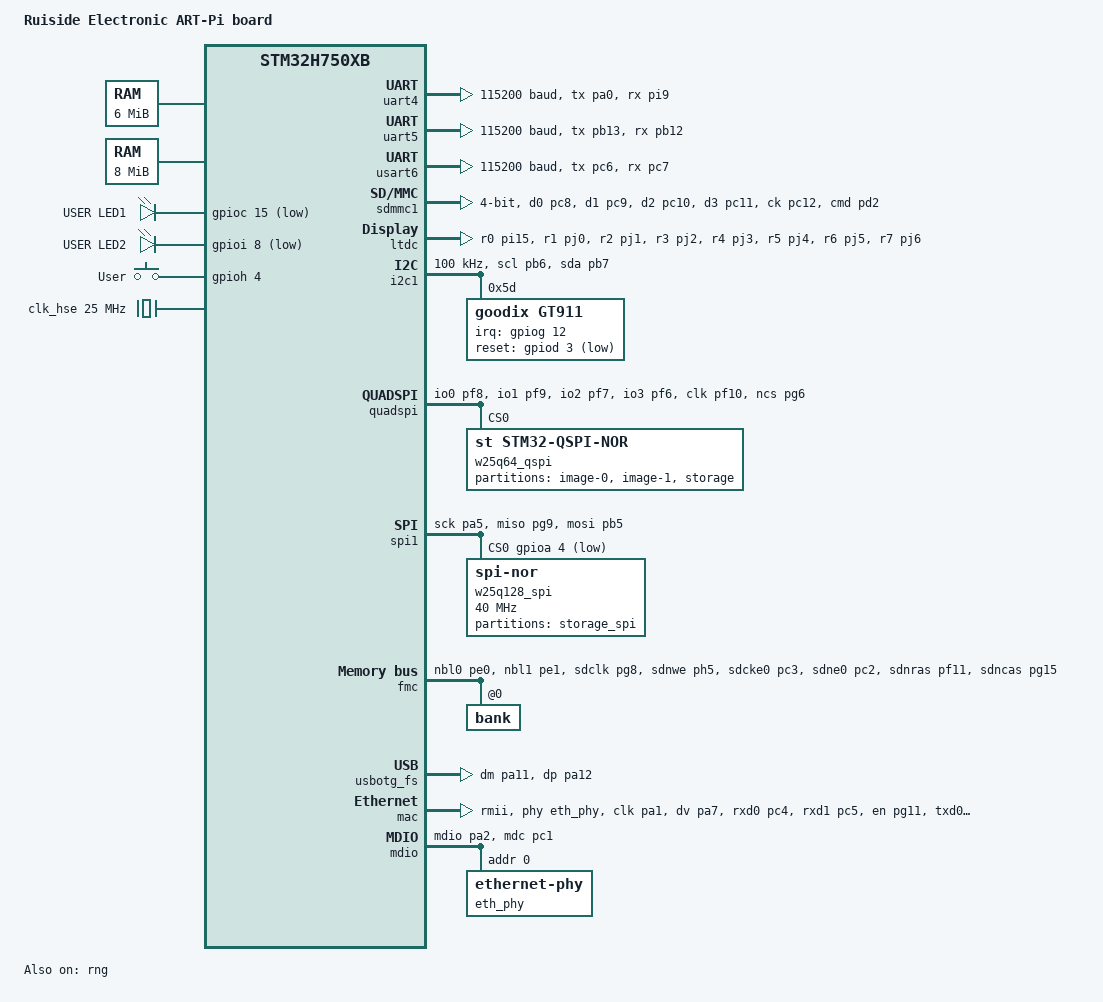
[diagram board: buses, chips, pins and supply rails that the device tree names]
/*
 * Copyright (c) 2025 Dejiang He <2995560796@qq.com>
 *
 * SPDX-License-Identifier: Apache-2.0
 */

/dts-v1/;
#include <st/h7/stm32h750Xb.dtsi>
#include <st/h7/stm32h750xbhx-pinctrl.dtsi>
#include <zephyr/dt-bindings/input/input-event-codes.h>
#include <zephyr/dt-bindings/gpio/gpio.h>
#include <zephyr/dt-bindings/memory-attr/memory-attr.h>

/ {
	model = "Ruiside Electronic ART-Pi board";
	compatible = "ruiside,art-pi";

	chosen {
		zephyr,console = &uart4;
		zephyr,shell-uart = &uart4;
		zephyr,uart-mcumgr = &uart4;
		zephyr,sram = &sram0;
		zephyr,flash = &flash0;
		zephyr,flash-controller = &w25q64_qspi;
		zephyr,display = &ltdc;
		zephyr,code-partition = &slot0_partition;
		zephyr,touch = &gt911;
	};

	sdram1: memory@c0000000 {
		compatible = "zephyr,memory-region","mmio-sram";
		device_type = "memory";
		reg = <0xC0000000 0x00600000>; /* Use 6 MB  MAX 32MB */
		zephyr,memory-region = "SDRAM1";
		zephyr,memory-attr = <(DT_MEM_ARM(ATTR_MPU_RAM))>;
	};

	ext_memory: memory@90000000 {
		compatible = "zephyr,memory-region";
		reg = <0x90000000 DT_SIZE_M(8)>; /* 8MB QSPI Flash */
		zephyr,memory-region = "EXTMEM";
		zephyr,memory-attr = <DT_MEM_ARM_MPU_FLASH>;
	};

	leds {
		compatible = "gpio-leds";

		red_led: led_1 {
			gpios = <&gpioc 15 GPIO_ACTIVE_LOW>;
			label = "USER LED1";
		};

		blue_led: led_2 {
			gpios = <&gpioi 8 GPIO_ACTIVE_LOW>;
			label = "USER LED2";
		};
	};

	gpio_keys {
		compatible = "gpio-keys";

		user_button: button {
			label = "User";
			gpios = <&gpioh 4 GPIO_ACTIVE_HIGH>;
			zephyr,code = <INPUT_KEY_0>;
		};
	};

	aliases {
		led0 = &red_led;
		led1 = &blue_led;
		sw0 = &user_button;
	};
};

&clk_hse {
	clock-frequency = <DT_FREQ_M(25)>;
	status = "okay";
};

&clk_hsi48 {
	status = "okay";
};

&pll {
	div-m = <5>; /* 25/5 */
	mul-n = <192>; /* 5*192=960 */
	div-p = <2>; /* 960/2=480MHz */
	div-q = <4>; /* 960/4=240MHz */
	div-r = <4>; /* 960/4=240MHz */
	clocks = <&clk_hse>;
	status = "okay";
};

&pll2 {
	div-m = <5>; /* 25/5 */
	mul-n = <160>; /* 5*160=800 */
	div-p = <4>; /* 800/4=200MHz */
	div-q = <4>; /* 800/4=200MHz */
	div-r = <4>; /* 800/4=200MHz */
	clocks = <&clk_hse>;
	status = "okay";
};

&pll3 {
	div-m = <5>; /* 25/5 */
	mul-n = <100>; /* 5*100=500 */
	div-p = <2>; /* 500/2=250MHz */
	div-q = <20>; /* 500/20=25MHz */
	div-r = <20>; /* 500/20=25MHz */
	clocks = <&clk_hse>;
	status = "okay";
};

&rcc {
	clocks = <&pll>; /* 25/5*192/2 = 480 */
	clock-frequency = <DT_FREQ_M(480)>;
	d1cpre = <1>; /* 480/1 = 480MHz  CPU Clocks */
	hpre = <2>; /* 480/2 = 240MHz */
	d1ppre = <2>; /* 240/2 = 120MHz APB3 Clocks */
	d2ppre1 = <2>; /* 240/2 = 120MHz APB1 Clocks */
	d2ppre2 = <2>; /* 240/2 = 120MHz APB2 Clocks */
	d3ppre = <2>; /* 240/2 = 120MHz APB4 Clocks */
};

&flash0 {
	partitions {
		compatible = "fixed-partitions";
		#address-cells = <1>;
		#size-cells = <1>;

		/* Flash has 128KB sector size */
		boot_partition: partition@0 {
			label = "mcuboot";
			reg = <0x00000000 DT_SIZE_K(128)>;
		};
	};
};

&uart4 {
	pinctrl-0 = <&uart4_tx_pa0 &uart4_rx_pi9>;
	pinctrl-names = "default";
	current-speed = <115200>;
	status = "okay";
	label = "debug";
};

&uart5 {
	pinctrl-0 = <&uart5_tx_pb13 &uart5_rx_pb12>;
	pinctrl-names = "default";
	current-speed = <115200>;
	status = "okay";
	label = "rs485";
};

&usart6 {
	pinctrl-0 = <&usart6_tx_pc6 &usart6_rx_pc7>;
	pinctrl-names = "default";
	current-speed = <115200>;
	status = "okay";
	label = "rs232";
};

&sdmmc1 {
	status = "okay";
	pinctrl-names = "default";
	pinctrl-0 = <&sdmmc1_d0_pc8 &sdmmc1_d1_pc9 &sdmmc1_d2_pc10
		     &sdmmc1_d3_pc11 &sdmmc1_ck_pc12 &sdmmc1_cmd_pd2>;
	clocks = <&rcc STM32_CLOCK(AHB3, 16)>,
		 <&rcc STM32_SRC_PLL2_R SDMMC_SEL(0)>;
	bus-width = <4>;
	cd-gpios = <&gpiod 5 (GPIO_PULL_UP|GPIO_ACTIVE_HIGH)>;
	disk-name = "SD";
	resets;
	reset-names = "sdmmc1_reset";
	clk-div = <4>;
};

&ltdc {
	pinctrl-0 = <&ltdc_r0_pi15 &ltdc_r1_pj0 &ltdc_r2_pj1 &ltdc_r3_pj2
		     &ltdc_r4_pj3 &ltdc_r5_pj4 &ltdc_r6_pj5 &ltdc_r7_pj6
		     &ltdc_g0_pj7 &ltdc_g1_pj8 &ltdc_g2_pj9 &ltdc_g3_pj10
		     &ltdc_g4_pj11 &ltdc_g5_pk0 &ltdc_g6_pk1 &ltdc_g7_pk2
		     &ltdc_b0_pj12 &ltdc_b1_pj13 &ltdc_b2_pj14 &ltdc_b3_pj15
		     &ltdc_b4_pk3 &ltdc_b5_pk4 &ltdc_b6_pk5 &ltdc_b7_pk6
		     &ltdc_hsync_pi12 &ltdc_vsync_pi13 &ltdc_de_pk7 &ltdc_clk_pi14>;
	pinctrl-names = "default";
	bl-ctrl-gpios = <&gpiod 4 GPIO_ACTIVE_HIGH>;
	ext-sdram = <&sdram1>;
	status = "okay";
	clocks = <&rcc STM32_CLOCK(APB3, 3)>,<&rcc STM32_SRC_PLL3_R NO_SEL>;
	width = <800>;
	height = <480>;
	pixel-format = <PANEL_PIXEL_FORMAT_RGB_565>;
	def-back-color-red = <0X00>;
	def-back-color-green = <0X00>;
	def-back-color-blue = <0X00>;

	display-timings {
		compatible = "zephyr,panel-timing";
		de-active = <1>;
		pixelclk-active = <1>;
		hsync-active = <0>;
		vsync-active = <0>;
		hsync-len = <4>;
		hback-porch = <8>;
		hfront-porch = <8>;
		vsync-len = <4>;
		vback-porch = <8>;
		vfront-porch = <8>;
	};
};

&i2c1 {
	status = "okay";
	clock-frequency = <100000>;
	pinctrl-names = "default";
	pinctrl-0 = <&i2c1_scl_pb6 &i2c1_sda_pb7>;

	gt911: touchscreen@5d {
		compatible = "goodix,gt911";
		reg = <0x5d>;
		alt-addr = <0x14>;
		irq-gpios = <&gpiog 12 GPIO_ACTIVE_HIGH>;
		reset-gpios = <&gpiod 3 GPIO_ACTIVE_LOW>;
		status = "okay";
	};
};

&quadspi {
	pinctrl-0 = <&quadspi_bk1_io0_pf8 &quadspi_bk1_io1_pf9 &quadspi_bk1_io2_pf7
		     &quadspi_bk1_io3_pf6 &quadspi_clk_pf10 &quadspi_bk1_ncs_pg6>;
	pinctrl-names = "default";
	status = "okay";

	w25q64_qspi: qspi-nor-flash@0 {
		compatible = "st,stm32-qspi-nor";
		reg = <0>;
		size = <DT_SIZE_M(64)>; /* 64Mbit */
		qspi-max-frequency = <100000000>;
		cs-high-time = <2>;
		status = "okay";
		spi-bus-width = <4>;
		writeoc = "PP_1_4_4";
		reset-cmd;
		reset-cmd-wait = <2000>;

		partitions {
			compatible = "fixed-partitions";
			#address-cells = <1>;
			#size-cells = <1>;

			slot0_partition: partition@0 {
				label = "image-0";
				reg = <0x00000000 DT_SIZE_K(2048)>; /* 2MB */
			};

			slot1_partition: partition@200000 {
				label = "image-1";
				reg = <0x00200000 DT_SIZE_K(2048)>; /* 2MB */
			};

			storage_partition: partition@400000 {
				label = "storage";
				reg = <0x00400000 DT_SIZE_K(4096)>; /* 4MB */
			};
		};
	};
};

&spi1 {
	pinctrl-0 = <&spi1_sck_pa5 &spi1_miso_pg9 &spi1_mosi_pb5>;
	cs-gpios = <&gpioa 4 GPIO_ACTIVE_LOW>;
	pinctrl-names = "default";
	status = "okay";

	w25q128_spi: spi-nor-flash@0 {
		compatible = "jedec,spi-nor";
		reg = <0>;
		spi-max-frequency = <40000000>;
		size = <DT_SIZE_M(128)>; /* 128Mbit */
		status = "okay";
		jedec-id = [ef 40 18];
		has-dpd;
		t-enter-dpd = <3500>;
		t-exit-dpd = <3500>;

		partitions {
			compatible = "fixed-partitions";
			#address-cells = <1>;
			#size-cells = <1>;

			spi_storage_partition: partition@0 {
				label = "storage_spi";
				reg = <0x00000000 DT_SIZE_M(16)>; /* 16MB */
			};
		};
	};
};

&fmc {
	pinctrl-0 = <&fmc_nbl0_pe0 &fmc_nbl1_pe1 &fmc_sdclk_pg8 &fmc_sdnwe_ph5
		     &fmc_sdcke0_pc3 &fmc_sdne0_pc2 &fmc_sdnras_pf11 &fmc_sdncas_pg15
		     &fmc_a0_pf0 &fmc_a1_pf1 &fmc_a2_pf2 &fmc_a3_pf3 &fmc_a4_pf4
		     &fmc_a5_pf5 &fmc_a6_pf12 &fmc_a7_pf13 &fmc_a8_pf14 &fmc_a9_pf15
		     &fmc_a10_pg0 &fmc_a11_pg1 &fmc_a12_pg2 &fmc_a14_pg4 &fmc_a15_pg5
		     &fmc_d0_pd14 &fmc_d1_pd15 &fmc_d2_pd0 &fmc_d3_pd1 &fmc_d4_pe7
		     &fmc_d5_pe8 &fmc_d6_pe9 &fmc_d7_pe10 &fmc_d8_pe11 &fmc_d9_pe12
		     &fmc_d10_pe13 &fmc_d11_pe14 &fmc_d12_pe15 &fmc_d13_pd8 &fmc_d14_pd9
		     &fmc_d15_pd10>;
	pinctrl-names = "default";
	status = "okay";

	sdram {
		status = "okay";
		power-up-delay = <100>;
		num-auto-refresh = <8>;
		mode-register = <0x230>;
		refresh-rate = <0x395>;

		bank@0 {
			reg = <0>;
			st,sdram-control = <STM32_FMC_SDRAM_NC_9
					    STM32_FMC_SDRAM_NR_13
					    STM32_FMC_SDRAM_MWID_16
					    STM32_FMC_SDRAM_NB_4
					    STM32_FMC_SDRAM_CAS_3
					    STM32_FMC_SDRAM_SDCLK_PERIOD_2
					    STM32_FMC_SDRAM_RBURST_ENABLE
					    STM32_FMC_SDRAM_RPIPE_1>;
			st,sdram-timing = <2 9 6 8 2 2 3>;
		};
	};
};

zephyr_udc0: &usbotg_fs {
	pinctrl-0 = <&usb_otg_fs_dm_pa11 &usb_otg_fs_dp_pa12>;
	pinctrl-names = "default";
	clocks = <&rcc STM32_CLOCK(AHB1, 27)>,
		 <&rcc STM32_SRC_HSI48 USB_SEL(3)>;
	maximum-speed = "full-speed";
	ram-size = <1280>;
	num-bidir-endpoints = <8>;
	status = "okay";
};

&mac {
	status = "okay";
	phy-connection-type = "rmii";
	phy-handle = <&eth_phy>;
	local-mac-address = [00 80 E1 2A 75 01];
	pinctrl-0 = <&eth_ref_clk_pa1
		     &eth_crs_dv_pa7
		     &eth_rxd0_pc4
		     &eth_rxd1_pc5
		     &eth_tx_en_pg11
		     &eth_txd0_pg13
		     &eth_txd1_pg14>;
	pinctrl-names = "default";
};

&mdio {
	status = "okay";
	pinctrl-0 = <&eth_mdio_pa2 &eth_mdc_pc1>;
	pinctrl-names = "default";

	eth_phy: ethernet-phy@0 {
		compatible = "ethernet-phy";
		reg = <0>;
		default-speeds = "10BASE Full-Duplex","100BASE Full-Duplex";
	};
};

&rng {
	status = "okay";
};
